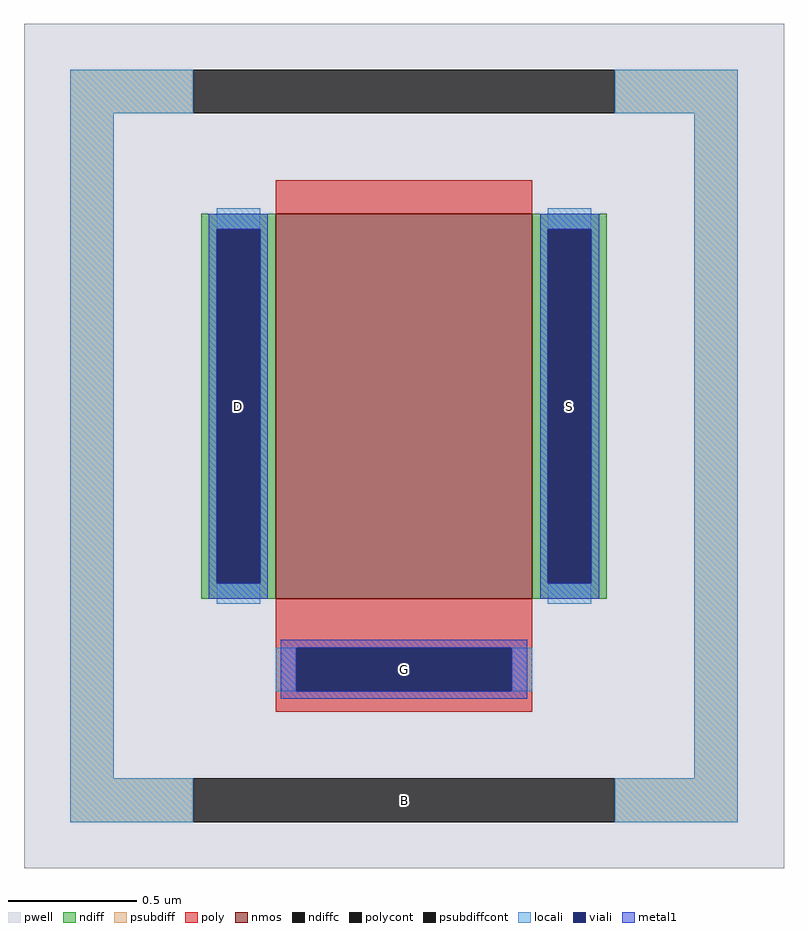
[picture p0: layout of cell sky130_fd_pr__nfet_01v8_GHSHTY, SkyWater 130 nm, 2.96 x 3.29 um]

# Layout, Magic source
magic
tech sky130A
magscale 1 2
<< pwell >>
rect -296 -329 296 329
<< nmos >>
rect -100 -119 100 181
<< ndiff >>
rect -158 169 -100 181
rect -158 -107 -146 169
rect -112 -107 -100 169
rect -158 -119 -100 -107
rect 100 169 158 181
rect 100 -107 112 169
rect 146 -107 158 169
rect 100 -119 158 -107
<< ndiffc >>
rect -146 -107 -112 169
rect 112 -107 146 169
<< psubdiff >>
rect -260 259 -164 293
rect 164 259 260 293
rect -260 -259 -226 259
rect 226 -259 260 259
rect -260 -293 -164 -259
rect 164 -293 260 -259
<< psubdiffcont >>
rect -164 259 164 293
rect -164 -293 164 -259
<< poly >>
rect -100 181 100 207
rect -100 -157 100 -119
rect -100 -191 -84 -157
rect 84 -191 100 -157
rect -100 -207 100 -191
<< polycont >>
rect -84 -191 84 -157
<< locali >>
rect -260 259 -164 293
rect 164 259 260 293
rect -260 -259 -226 259
rect -146 169 -112 185
rect -146 -123 -112 -107
rect 112 169 146 185
rect 112 -123 146 -107
rect -100 -191 -84 -157
rect 84 -191 100 -157
rect 226 -259 260 259
rect -260 -293 -164 -259
rect 164 -293 260 -259
<< viali >>
rect -146 -107 -112 169
rect 112 -107 146 169
rect -84 -191 84 -157
<< metal1 >>
rect -152 169 -106 181
rect -152 -107 -146 169
rect -112 -107 -106 169
rect -152 -119 -106 -107
rect 106 169 152 181
rect 106 -107 112 169
rect 146 -107 152 169
rect 106 -119 152 -107
rect -96 -157 96 -151
rect -96 -191 -84 -157
rect 84 -191 96 -157
rect -96 -197 96 -191
<< labels >>
rlabel psubdiffcont 0 -276 0 -276 0 B
port 1 nsew
rlabel ndiffc -129 31 -129 31 0 D
port 2 nsew
rlabel ndiffc 129 31 129 31 0 S
port 3 nsew
rlabel polycont 0 -174 0 -174 0 G
port 4 nsew
<< properties >>
string FIXED_BBOX -243 -276 243 276
string gencell sky130_fd_pr__nfet_01v8
string library sky130
string parameters w 1.5 l 1.0 m 1 nf 1 diffcov 100 polycov 100 guard 1 glc 0 grc 0 gtc 1 gbc 1 tbcov 100 rlcov 100 topc 0 botc 1 poverlap 0 doverlap 1 lmin 0.15 wmin 0.42 class mosfet compatible {sky130_fd_pr__nfet_01v8 sky130_fd_pr__nfet_01v8_lvt  sky130_fd_bs_flash__special_sonosfet_star  sky130_fd_pr__nfet_g5v0d10v5 sky130_fd_pr__nfet_05v0_nvt  sky130_fd_pr__nfet_03v3_nvt} full_metal 1 conn_gates 0 viasrc 100 viadrn 100 viagate 100 viagb 0 viagr 0 viagl 0 viagt 0 doports 1
<< end >>
